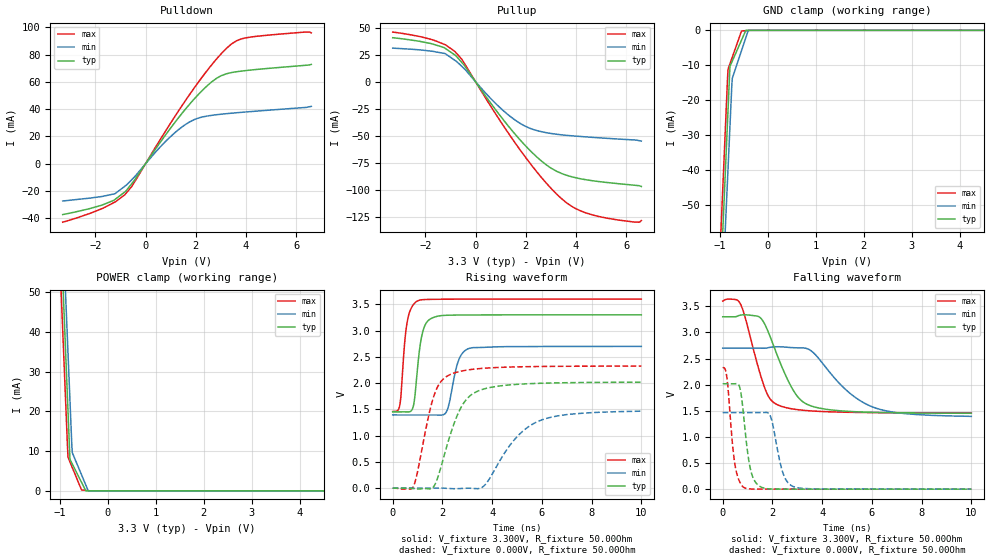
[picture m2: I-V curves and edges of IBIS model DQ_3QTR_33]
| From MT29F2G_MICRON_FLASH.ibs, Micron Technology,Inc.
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|   MODEL DQ_3QTR_33
[Model]   DQ_3QTR_33
Model_type   I/O
Vinl = 660mV
Vinh = 2.640V
Vmeas = 1.650V
Cref = 50.000pF
|   typ   min   max
C_comp   3.35pF   2.89pF   3.89pF
[Model Spec]
| Input threshold voltage corners
Vinl   0.660V   0.540V   0.72V
Vinh   2.640V   2.160V   2.880V
| Measurement voltage corners
Vmeas   1.650V   1.3500V   1.800V
[Voltage Range]   3.300V   2.700V   3.600V
| Junction Temperature (Ambient temp is 25C typ, 70C min, 0C max)
[Temperature Range]   40   85   0
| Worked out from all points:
|   slope of the pulldown table from 0 to 0.495 V, typ, clamps not added: 37.1 ohm
|   slope of the pullup table from 0 to 0.495 V, typ, clamps not added: 30.3 ohm
|   GND clamp passes 1 mA (typ) near -0.49 V on its own axis
|   POWER clamp passes 1 mA (typ) near -0.50 V on its own axis
|   falling waveform, V_fixture 3.300V, R_fixture 50.00Ohm: 20-80 % time 1.03ns typ, 1.7ns min, 761ps max; typ from 3.3 V to 1.45 V
|   rising waveform, V_fixture 3.300V, R_fixture 50.00Ohm: 20-80 % time 277ps typ, 364ps min, 235ps max; typ from 1.45 V to 3.3 V
|   rising waveform, V_fixture 0.000V, R_fixture 50.00Ohm: 20-80 % time 903ps typ, 1.44ns min, 674ps max; typ from 0 V to 2.02 V
|   falling waveform, V_fixture 0.000V, R_fixture 50.00Ohm: 20-80 % time 311ps typ, 393ps min, 269ps max; typ from 2.02 V to 0 V
[Pulldown]
|   Voltage   I(typ)   I(min)   I(max)
-3.3V     -37.34mA   -27.38mA   -42.94mA
-1.76V    -30.55mA   -24.13mA   -33.16mA
-1.22V    -26.29mA   -22.04mA   -28.16mA
-830mV    -20.81mA   -16.62mA   -22.87mA
-550mV    -14.67mA   -11.73mA   -16.74mA
740mV     19.67mA    15.26mA    22.32mA
1.54V     38.94mA    28.11mA    45mA
2.02V     49.15mA    32.93mA    57.68mA
2.61V     59.67mA    35.39mA    72mA
3.41V     66.78mA    37.01mA    87.66mA
4.2V      68.71mA    38.24mA    92.93mA
6.6V      72.81mA    42.04mA    95.98mA
[GND Clamp]
|   Voltage   I(typ)   I(min)   I(max)
-3.3V     -1.02A     -968.1mA   -1.029A
-1.07V    -98.89mA   -112.2mA   -86.96mA
-840mV    -26.04mA   -42.64mA   -13.66mA
-830mV    -22.87mA   -39.62mA   -11.15mA
-790mV    -10.33mA   -27.53mA   -9.589mA
-750mV    -9.08mA    -15.44mA   -8.03mA
-740mV    -8.769mA   -13.67mA   -7.641mA
-550mV    -2.843mA   -5.846mA   -237.8uA
-540mV    -2.531mA   -5.434mA   -172uA
-460mV    -36.63uA   -2.14mA    -98.6uA
-400mV    -3.268uA   -2.367uA   -43.56uA
6.6V      0A         0A         0A
[Pullup]
|   Voltage   I(typ)   I(min)   I(max)
-3.3V     40.78mA    31.12mA    45.99mA
-1.22V    31.1mA     26.16mA    34.4mA
-830mV    24.91mA    19.94mA    28.19mA
-550mV    17.92mA    14.3mA     20.87mA
800mV     -25.94mA   -20.1mA    -29.77mA
1.63V     -50.02mA   -36.33mA   -58.4mA
2.82V     -76.97mA   -47.12mA   -93.88mA
3.63V     -86.57mA   -49.59mA   -112.1mA
4.19V     -89.83mA   -50.65mA   -119.6mA
4.91V     -92.37mA   -51.86mA   -124.7mA
6.33V     -95.76mA   -53.88mA   -129.9mA
6.6V      -96.91mA   -54.88mA   -128.4mA
[POWER Clamp]
|   Voltage   I(typ)   I(min)   I(max)
-3.3V     985.4mA    938.8mA    1.03A
-1.13V    110.3mA    122mA      96.11mA
-840mV    22.88mA    37.47mA    10.78mA
-830mV    19.87mA    34.56mA    8.471mA
-790mV    7.941mA    22.9mA     7.302mA
-750mV    6.982mA    11.23mA    6.134mA
-740mV    6.743mA    9.581mA    5.842mA
-550mV    2.192mA    4.098mA    293.1uA
-540mV    1.952mA    3.809mA    238.7uA
-460mV    36.3uA     1.5mA      136.7uA
-400mV    8.095uA    1.921uA    60.26uA
6.6V      0A         0A         0A
[Ramp]
R_load = 50.00Ohm
|   typ   min   max
dV/dt_r   1.210V/902.786ps 878.634mV/1.436ns   1.394V/673.156ps
dV/dt_f   1.108V/1.034ns   782.980mV/1.699ns   1.284V/761.400ps
[Falling Waveform]
V_fixture = 3.300V
V_fixture_min = 2.700V
V_fixture_max = 3.600V
R_fixture = 50.00Ohm
|   Time   V(typ)   V(min)   V(max)
0s        3.3V       2.698V     3.6V
700ps     3.33V      2.698V     3.556V
1.53ns    3.273V     2.698V     2.169V
1.86ns    2.976V     2.71V      1.76V
2.25ns    2.494V     2.726V     1.605V
2.94ns    1.816V     2.706V     1.526V
3.64ns    1.58V      2.616V     1.495V
4.89ns    1.494V     1.931V     1.473V
6.01ns    1.47V      1.577V     1.466V
10ns      1.452V     1.393V     1.46V
[Rising Waveform]
V_fixture = 3.300V
V_fixture_min = 2.700V
V_fixture_max = 3.600V
R_fixture = 50.00Ohm
|   Time   V(typ)   V(min)   V(max)
0s        1.452V     1.393V     1.46V
290ps     1.452V     1.393V     1.592V
520ps     1.452V     1.393V     2.953V
790ps     1.505V     1.393V     3.464V
1.02ns    2.389V     1.393V     3.569V
1.36ns    3.153V     1.393V     3.592V
2.13ns    3.291V     1.431V     3.597V
2.65ns    3.296V     2.433V     3.598V
3.1ns     3.297V     2.665V     3.599V
10ns      3.3V       2.698V     3.6V
[Rising Waveform]
V_fixture = 0.000V
V_fixture_min = 0.000V
V_fixture_max = 0.000V
R_fixture = 50.00Ohm
|   Time   V(typ)   V(min)   V(max)
0s        150.2uV    1.429mV    -21.86uV
830ps     -8.006mV   1.429mV    31.33mV
1.64ns    24.77mV    1.446mV    1.732V
1.92ns    367.4mV    1.462mV    2.018V
2.26ns    932.4mV    -5.199mV   2.151V
2.85ns    1.618V     -3.754mV   2.237V
3.68ns    1.89V      47.31mV    2.283V
4.85ns    1.972V     898.2mV    2.308V
5.72ns    1.993V     1.243V     2.315V
10ns      2.017V     1.466V     2.324V
[Falling Waveform]
V_fixture = 0.000V
V_fixture_min = 0.000V
V_fixture_max = 0.000V
R_fixture = 50.00Ohm
|   Time   V(typ)   V(min)   V(max)
0s        2.017V     1.466V     2.324V
170ps     2.017V     1.466V     2.13V
510ps     2.018V     1.466V     422.7mV
710ps     1.899V     1.466V     115.2mV
880ps     1.224V     1.466V     24.49mV
1.35ns    112.5mV    1.466V     1.768mV
1.89ns    5.214mV    1.425V     812.4uV
2.43ns    1.506mV    299.3mV    461.4uV
2.91ns    939.9uV    37.4mV     293.8uV
10ns      150.2uV    1.429mV    -21.86uV
